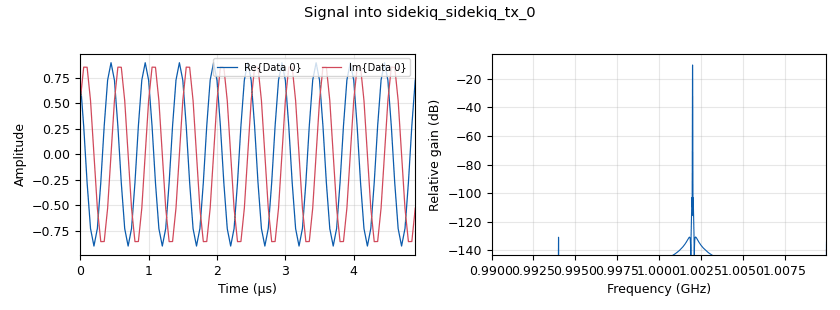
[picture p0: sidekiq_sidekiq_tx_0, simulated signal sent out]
options:
  parameters:
    author: Epiq Solutions
    category: '[Sidekiq Examples]'
    description: One RF-timestamped Sidekiq TX burst using UHD-compatible tx_time and length tags.
    generate_options: no_gui
    id: tx_timed_burst
    output_language: python
    run_options: run
    title: Sidekiq Timed TX Burst
  states: {}

blocks:
- name: burst_len
  id: variable
  parameters:
    comment: Complex samples for a 1.5-second burst
    value: int(1.5*sample_rate)
  states: {}
- name: frequency
  id: variable
  parameters:
    comment: TX LO frequency
    value: 1000e6
  states: {}
- name: sample_rate
  id: variable
  parameters:
    comment: TX RF sample-counter rate
    value: 20e6
  states: {}
- name: tone_frequency
  id: variable
  parameters:
    comment: Complex tone offset from the LO
    value: 2e6
  states: {}
- name: tx_time_fraction
  id: variable
  parameters:
    comment: Fractional seconds in [0, 1)
    value: '0.0'
  states: {}
- name: tx_time_seconds
  id: variable
  parameters:
    comment: Whole seconds on the Sidekiq RF timestamp clock
    value: '5'
  states: {}
- name: analog_sig_source_x_0
  id: analog_sig_source_x
  parameters:
    amp: '0.9'
    comment: Streaming complex tone; Head controls duration
    freq: tone_frequency
    offset: '0'
    phase: '0'
    samp_rate: sample_rate
    type: complex
    waveform: analog.GR_COS_WAVE
  states: {}
- name: blocks_head_0
  id: blocks_head
  parameters:
    comment: Limit the streaming tone to exactly 1.5 seconds
    num_items: burst_len
    type: complex
  states: {}
- name: sidekiq_sidekiq_tx_0
  id: sidekiq_sidekiq_tx
  parameters:
    attenuation: '100'
    bandwidth: 0.8*sample_rate
    buffer_size: '4092'
    burst_tag: packet_len
    cal_mode: '0'
    card: '1'
    comment: Timed mode requires packet_len and tx_time at the first sample
    frequency: frequency
    handle: '0'
    reset_timestamps_on_start: '1'
    run_cal: '0'
    sample_rate: sample_rate
    threads: '1'
    timed_tx: '1'
    topology: '0'
  states: {}
- name: timed_burst_tagger
  id: epy_block
  parameters:
    _source_code: |-
      import numpy as np
      from gnuradio import gr
      import pmt

      class blk(gr.sync_block):
          """Attach packet_len and tx_time to the first sample of each run."""

          def __init__(self, burst_len=1, tx_time_seconds=0, tx_time_fraction=0.0):
              gr.sync_block.__init__(
                  self,
                  name='Timed Burst Tagger',
                  in_sig=[np.complex64],
                  out_sig=[np.complex64])
              self.burst_len = int(burst_len)
              self.tx_time_seconds = int(tx_time_seconds)
              self.tx_time_fraction = float(tx_time_fraction)
              self._tagged = False

          def start(self):
              self._tagged = False
              return True

          def set_burst_len(self, burst_len):
              self.burst_len = int(burst_len)

          def set_tx_time_seconds(self, seconds):
              self.tx_time_seconds = int(seconds)

          def set_tx_time_fraction(self, fraction):
              self.tx_time_fraction = float(fraction)

          def work(self, input_items, output_items):
              output_items[0][:] = input_items[0]
              if len(output_items[0]) and not self._tagged:
                  offset = self.nitems_written(0)
                  source = pmt.intern('tx_timed_burst')
                  self.add_item_tag(
                      0, offset, pmt.intern('packet_len'),
                      pmt.from_uint64(self.burst_len), source)
                  self.add_item_tag(
                      0, offset, pmt.intern('tx_time'),
                      pmt.make_tuple(
                          pmt.from_uint64(self.tx_time_seconds),
                          pmt.from_double(self.tx_time_fraction)),
                      source)
                  self._tagged = True
              return len(output_items[0])
    burst_len: burst_len
    comment: Add UHD-compatible burst length and scheduled-time tags
    tx_time_fraction: tx_time_fraction
    tx_time_seconds: tx_time_seconds
  states: {}

connections:
- [analog_sig_source_x_0, '0', blocks_head_0, '0']
- [blocks_head_0, '0', timed_burst_tagger, '0']
- [timed_burst_tagger, '0', sidekiq_sidekiq_tx_0, '0']

metadata:
  file_format: 1
  grc_version: v3.11.0.0git-605-g9b22fd38
